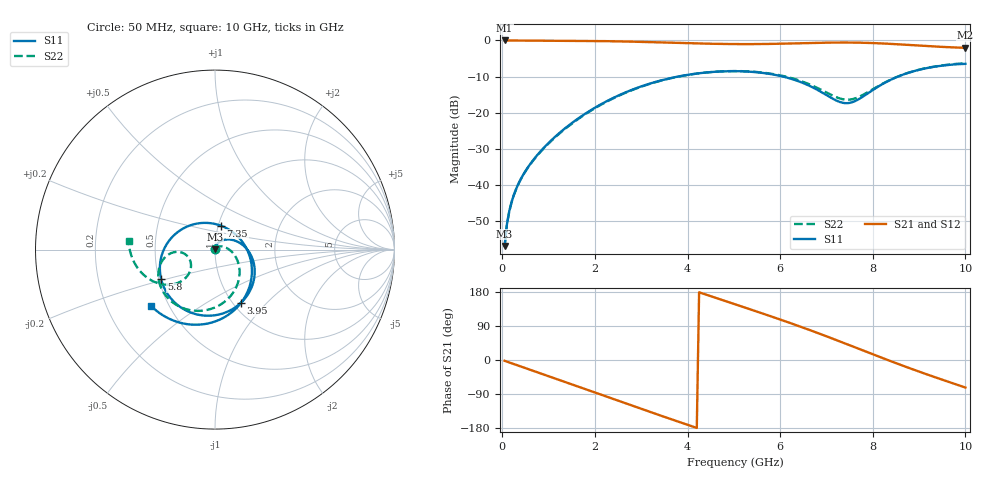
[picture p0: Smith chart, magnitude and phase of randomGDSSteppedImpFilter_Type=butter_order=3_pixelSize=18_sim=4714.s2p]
! freq	dB(S11)	phase(S11)	dB(S12)	phase(S12)
!  dB(S21)	phase(S21)	dB(S22)	phase(S22)
!S-par simulation data
#  GHz  S  DB  R 50
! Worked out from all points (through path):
!   200 points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, 50 MHz to 10 GHz, reference 50 ohm
!   highest |S21| = 0.00 dB at 50 MHz (marker M1); lowest = -2.0 dB at 10 GHz (marker M2)
!   group delay of S21, straight-line fit = 120 ps
!   lowest |S11| = -56.9 dB at 50 MHz (marker M3), VSWR 1.00, Z = 50 + j0.143 ohm
!   |S11| at or under -10 dB: start of sweep to 3.792 GHz; 6.061 GHz to 8.543 GHz (2.481 GHz wide, 34 % of centre)
!   |S22| runs from -56.9 to -6.3 dB; largest |S21 - S12| = 0
!   S11 on the Smith chart (normalised r, x): 50 MHz: 1.00, +0.00; 3.95 GHz: 1.08, -0.72; 5.8 GHz: 0.51, -0.19; 7.35 GHz: 1.03, +0.28; 10 GHz: 0.40, -0.32
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0.05  -56.91 86.8  -0.00 -2.2  -0.00 -2.2  -56.93 84.1
0.1  -50.87 87.2  -0.01 -4.3  -0.01 -4.3  -50.90 82.0
0.2  -44.75 86.2  -0.01 -8.6  -0.01 -8.6  -44.78 75.9
0.45  -37.20 81.8  -0.03 -19.3  -0.03 -19.3  -37.27 60.0
1  -28.36 66.8  -0.05 -42.8  -0.05 -42.8  -28.50 28.7
1.75  -20.62 37.3  -0.12 -75.0  -0.12 -75.0  -20.77 -6.1
2.15  -17.53 19.4  -0.18 -92.2  -0.18 -92.2  -17.66 -22.9
2.55  -14.99 0.9  -0.26 -109.5  -0.26 -109.5  -15.10 -39.1
3.4  -11.16 -38.9  -0.53 -145.9  -0.53 -145.9  -11.21 -72.3
3.95  -9.63 -64.2  -0.74 -168.9  -0.74 -168.9  -9.66 -92.8
4.5  -8.75 -89.3  -0.91 168.4  -0.91 168.4  -8.76 -112.6
5.05  -8.51 -114.6  -1.01 146.1  -1.01 146.1  -8.47 -131.5
5.8  -9.32 -151.2  -0.95 115.3  -0.95 115.3  -9.19 -155.6
6.25  -10.66 -176.4  -0.83 96.2  -0.83 96.2  -10.43 -167.9
6.7  -12.97 152.4  -0.69 76.3  -0.69 76.3  -12.52 -176.0
7.35  -17.25 76.0  -0.57 46.1  -0.57 46.1  -16.26 -163.2
7.55  -17.12 43.0  -0.59 36.6  -0.59 36.6  -16.28 -151.7
7.85  -15.01 0.7  -0.66 22.3  -0.66 22.3  -14.63 -138.9
8.35  -11.12 -45.6  -0.92 -1.3  -0.92 -1.3  -11.08 -138.2
8.75  -9.03 -72.3  -1.22 -19.6  -1.22 -19.6  -9.02 -147.0
9.2  -7.56 -97.8  -1.57 -39.3  -1.57 -39.3  -7.53 -160.2
10  -6.47 -138.7  -2.04 -72.6  -2.04 -72.6  -6.32 174.4
